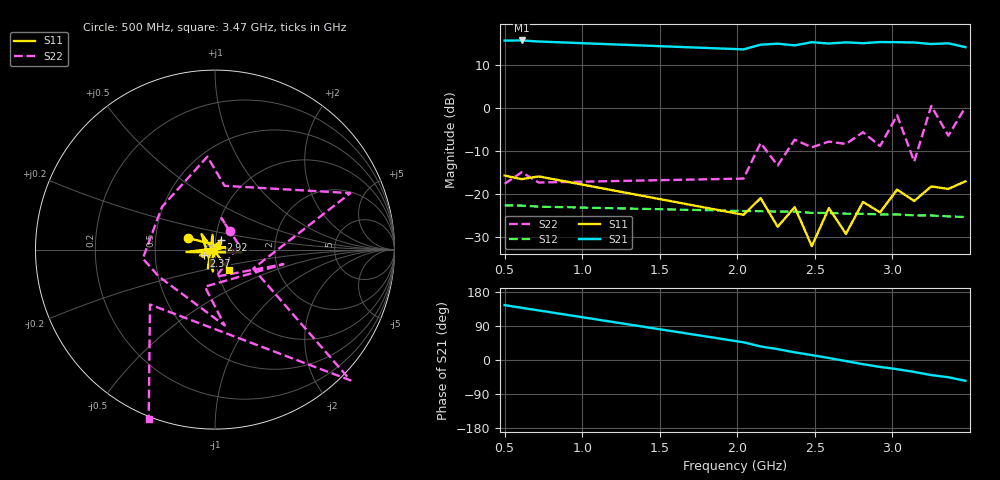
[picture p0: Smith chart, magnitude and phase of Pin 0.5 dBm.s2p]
! RsaToolbox (C) 2015 Rohde & Schwarz America
! Number of points: 17
! Number of ports: 2
! Balanced ports?: No
# Hz S RI R 50
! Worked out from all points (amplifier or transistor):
!   17 points, 500 MHz to 3.47 GHz, reference 50 ohm
!   highest |S21| = 15.6 dB at 610 MHz (marker M1)
!   |S21| within 3 dB of that: start of sweep to end of sweep
!   unconditionally stable (mu >= 1): start of sweep to 3.005 GHz; 3.045 GHz to 3.222 GHz; 3.3 GHz to 3.424 GHz
!   at 720 MHz: K = 1.36, MAG = 15.5 dB, |S12| = -22.9 dB
!   at 2.59 GHz: K = 1.44, MAG = 15.7 dB, |S12| = -24.4 dB
!   at 3.47 GHz: K = 0.12, MSG = 19.7 dB, |S12| = -25.3 dB
!   S11 on the Smith chart (normalised r, x): 500 MHz: 0.73, +0.10; 2.37 GHz: 0.88, -0.06; 2.92 GHz: 1.06, +0.11; 3.47 GHz: 1.14, -0.27
5e8  -0.1498 0.0657  -4.905 3.453  0.0639 -0.0371  0.0811 0.103
6.1e8  0.1478 -0.0162  -4.449 4.057  0.0591 -0.0434  0.0365 0.175
7.2e8  -0.1593 -0.0135  -3.823 4.434  0.0474 -0.0533  0.1334 0.0254
2.04e9  0.0556 0.0142  3.253 3.455  -0.0395 -0.0497  0.00703 -0.1507
2.15e9  -0.0835 -0.0322  4.365 3.14  -0.0493 -0.0394  0.3808 -0.0816
2.26e9  0.0307 0.0283  4.846 2.649  -0.0484 -0.0395  -0.0562 -0.2064
2.37e9  -0.0624 -0.0328  4.957 1.822  -0.0575 -0.0245  0.0542 -0.423
2.48e9  0.0148 0.0199  5.598 1.292  -0.0509 -0.0325  -0.3131 -0.1499
2.59e9  -0.0648 -0.0226  5.523 0.509  -0.0603 -0.000653  -0.402 -0.0497
2.7e9  0.021 0.0273  5.716 -0.2835  -0.0548 -0.0223  -0.2953 0.2386
2.81e9  -0.0703 -0.0401  5.492 -1.086  -0.0585 0.00654  -0.0424 0.518
2.92e9  0.0333 0.0513  5.478 -1.812  -0.0578 -0.000592  0.0531 0.3554
3.03e9  -0.0398 -0.1051  5.244 -2.356  -0.0566 0.0122  0.7541 0.3146
3.14e9  -0.0136 0.0817  4.863 -2.977  -0.0551 0.0123  0.2128 -0.1058
3.25e9  -0.0115 -0.1219  4.205 -3.503  -0.048 0.0296  0.7547 -0.7284
3.36e9  -0.0751 0.0862  3.909 -3.981  -0.0515 0.0191  -0.3623 -0.3063
3.47e9  0.0793 -0.1156  2.893 -4.121  -0.0428 0.0332  -0.3693 -0.9459
